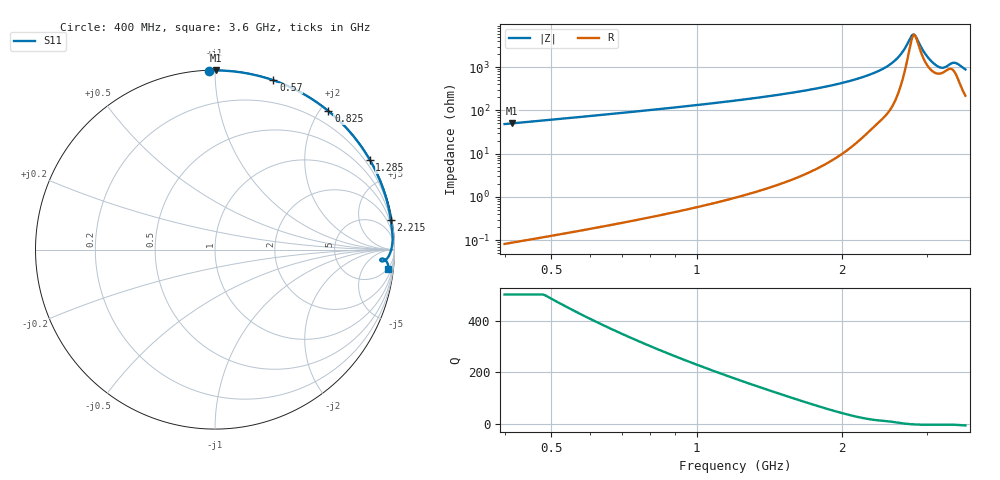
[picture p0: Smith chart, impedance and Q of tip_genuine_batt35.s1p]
! tip_genuine_batt35
! simulated by sim/rf_fdtd.py
# HZ S RI R 50
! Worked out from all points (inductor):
!   641 points, 400 MHz to 3.6 GHz, reference 50 ohm
!   read as one part to ground: L = 18.8 nH near 415 MHz
!   highest Q = 571 at 415 MHz (marker M1), where L = 19.3 nH
!   self-resonance near 2.826 GHz
!   S11 on the Smith chart (normalised r, x): 400 MHz: 0.00, +0.97; 570 MHz: 0.00, +1.40; 825 MHz: 0.01, +2.11; 1.285 GHz: 0.02, +3.71; 2.215 GHz: 0, +12; 3.6 GHz: 4, -17
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4e8  -0.0337 0.9977
4.15e8  0.00429 0.9982
4.9e8  0.1755 0.9824
5.7e8  0.3251 0.9433
6.25e8  0.4106 0.9093
6.8e8  0.4841 0.8723
7.4e8  0.5525 0.8305
8e8  0.6106 0.7886
8.25e8  0.6322 0.7714
9.05e8  0.6926 0.7175
9.95e8  0.7473 0.6601
1.095e9  0.7957 0.6008
1.2e9  0.8357 0.5435
1.285e9  0.862 0.5006
1.435e9  0.8982 0.4317
1.6e9  0.9273 0.3643
2e9  0.9684 0.2274
2.215e9  0.9794 0.1647
2.4e9  0.9854 0.1155
2.615e9  0.9896 0.0574
2.8e9  0.9837 0.00693
3.065e9  0.9537 -0.0555
3.14e9  0.938 -0.0652
3.2e9  0.9254 -0.0647
3.275e9  0.9217 -0.054
3.365e9  0.9392 -0.0512
3.48e9  0.9602 -0.074
3.6e9  0.9666 -0.1062
